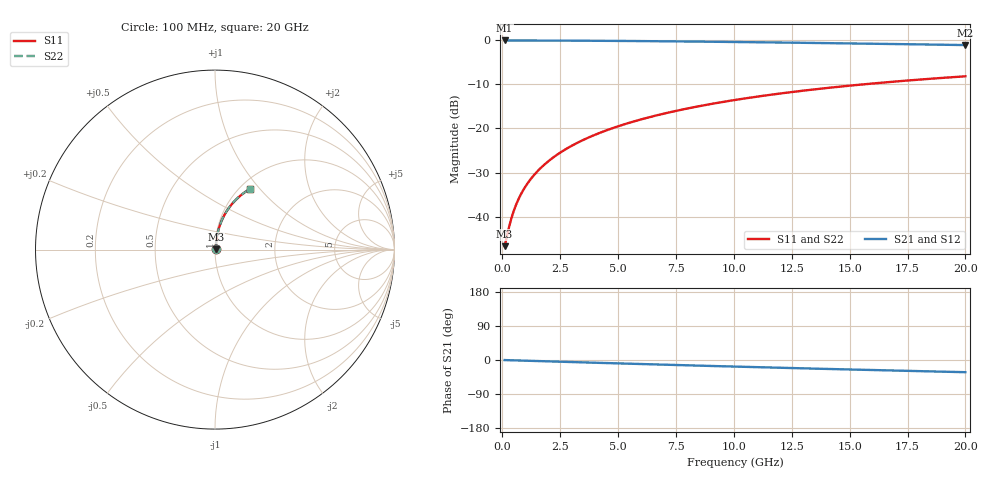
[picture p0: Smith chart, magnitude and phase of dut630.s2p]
! Touchstone file exported from HFSS 2024.1.0
!  File:  C:/UserFiles/LocalFiles/RDL_TSV_Batchsim/temp_RDL_bottom_630_1779784431.aedt
!  Generated:  04:36:35 PM May 26, 2026
!  Design:  RDL_bottom
!  Project:  temp_RDL_bottom_630_1779784431
!  Setup:  Setup1
!  Solution:  Sweep
! Variables:
!  dtsv = 10.80580581um
!  hbump = 3um
!  htsv = 70.56um
!  ldown = 378.51um
!  lrdl = 100um
!  p = 40
!  p1 = 48.34um
!  rhole = 1um
!  t = 450um
!  tdown = 2.76um
!  trdl = 3.915915916um
!  wdown = 12.4um
!  wrdl = 20um
# GHz S MA R 50.000000
! Terminal data exported
! Port[1] = RDL1_T1
! Port[2] = RDL1_T2
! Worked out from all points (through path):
!   200 points, 100 MHz to 20 GHz, reference 50 ohm
!   highest |S21| = -0.04 dB at 100 MHz (marker M1); lowest = -1.1 dB at 20 GHz (marker M2)
!   group delay of S21, straight-line fit = 4.47 ps
!   lowest |S11| = -46.7 dB at 100 MHz (marker M3), VSWR 1.01, Z = 50.4 + j0.221 ohm
!   |S11| at or under -10 dB: start of sweep to 15.58 GHz
!   |S22| runs from -46.7 to -8.2 dB; largest |S21 - S12| = 2.6e-15
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0.1  0.004618 28.4  0.9959 -0.2  0.9959 -0.2  0.004617 28.4
! Gamma 0 0 0 0
! Port Impedance 50 0 50 0
0.3  0.007776 57.4  0.9958 -0.6  0.9958 -0.6  0.007776 57.4
0.4  0.009703 63.8  0.9957 -0.7  0.9957 -0.7  0.009703 63.8
0.5  0.0117 67.9  0.9956 -0.9  0.9956 -0.9  0.0117 67.9
0.6  0.01373 70.8  0.9955 -1.1  0.9955 -1.1  0.01373 70.8
0.7  0.01577 72.9  0.9954 -1.3  0.9954 -1.3  0.01577 72.9
0.9  0.01988 75.7  0.9951 -1.7  0.9951 -1.7  0.01988 75.7
1.2  0.02607 78.2  0.9947 -2.2  0.9947 -2.2  0.02607 78.2
1.4  0.03021 79.3  0.9944 -2.6  0.9944 -2.6  0.03021 79.3
1.7  0.03645 80.3  0.994 -3.1  0.994 -3.1  0.03645 80.3
2.2  0.04688 81.2  0.993 -4.0  0.993 -4.0  0.04688 81.2
2.8  0.05945 81.6  0.9916 -5.1  0.9916 -5.1  0.05945 81.6
3.5  0.07416 81.5  0.9897 -6.3  0.9897 -6.3  0.07416 81.5
4.2  0.0889 81.1  0.9873 -7.6  0.9873 -7.6  0.08889 81.1
5  0.1057 80.4  0.9843 -9.0  0.9843 -9.0  0.1057 80.4
5.9  0.1247 79.5  0.9803 -10.5  0.9803 -10.5  0.1247 79.5
6.8  0.1435 78.4  0.9759 -12.1  0.9759 -12.1  0.1435 78.4
8.3  0.1747 76.5  0.9677 -14.6  0.9677 -14.6  0.1747 76.5
10.1  0.2115 74.0  0.9566 -17.5  0.9566 -17.5  0.2115 74.0
13.4  0.276 69.2  0.9339 -22.7  0.9339 -22.7  0.276 69.2
16.7  0.3359 64.5  0.909 -27.5  0.909 -27.5  0.3359 64.5
20  0.3906 59.9  0.8828 -32.2  0.8828 -32.2  0.3906 60.0
